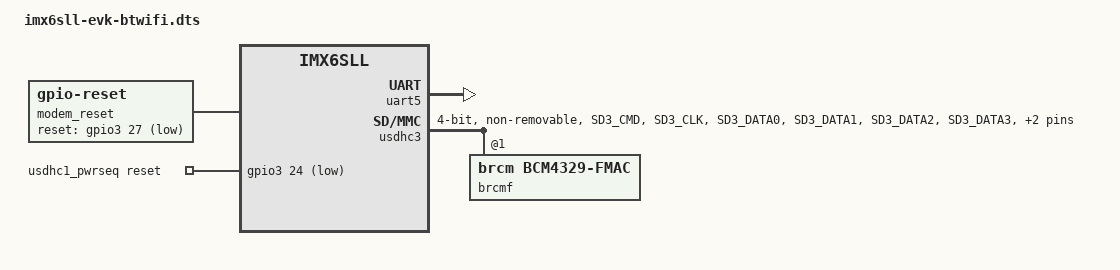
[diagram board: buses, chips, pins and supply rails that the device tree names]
/*
 * Copyright (C) 2016 Freescale Semiconductor, Inc.
 *
 * This program is free software; you can redistribute it and/or modify
 * it under the terms of the GNU General Public License version 2 as
 * published by the Free Software Foundation.
 */

/*
 * NOTE: This DTS file is written for plugging in Murata Wi-Fi/BT EVK into Slot
 * SD1 and using Murata i.MX InterConnect Ver 2.0 Adapter. Bluetooth UART &
 * control signals are connected via ribbon cable (J4 connector).
 */

#include "imx6sll-evk.dts"

/ {
	modem_reset: modem-reset {
		compatible = "gpio-reset";
		reset-gpios = <&gpio3 27 GPIO_ACTIVE_LOW>;
		reset-delay-us = <1000>;
		#reset-cells = <0>;
	};

	usdhc1_pwrseq: usdhc1_pwrseq {
		compatible = "mmc-pwrseq-simple";
		reset-gpios = <&gpio3 24 GPIO_ACTIVE_LOW>;
	};
};

&iomuxc {
	imx6sll-evk-murata-v2 {
		pinctrl_wifi: wifigrp {
			fsl,pins = <
				MX6SLL_PAD_SD3_CMD__SD3_CMD     0x170b9
				MX6SLL_PAD_SD3_CLK__SD3_CLK     0x130b9
				MX6SLL_PAD_SD3_DATA0__SD3_DATA0 0x170b9
				MX6SLL_PAD_SD3_DATA1__SD3_DATA1 0x170b9
				MX6SLL_PAD_SD3_DATA2__SD3_DATA2 0x170b9
				MX6SLL_PAD_SD3_DATA3__SD3_DATA3 0x170b9

				MX6SLL_PAD_KEY_COL0__GPIO3_IO24 0x17059 /* WL_REG_ON */
				MX6SLL_PAD_KEY_COL1__GPIO3_IO26 0x17059 /* WL_HOST_WAKE */
			>;
		};
	};
};

&lcdif {
	status = "disabled";
};

&reg_sd3_vmmc {
	regulator-always-on;
};

&uart5 {
	resets = <&modem_reset>;
	status = "okay";
};

&usdhc3 {
	#address-cells = <1>;
	#size-cells = <0>;
	pinctrl-names = "default";
	pinctrl-0 = <&pinctrl_wifi>;
	bus-width = <4>;
	no-1-8-v;
	non-removable;
	mmc-pwrseq = <&usdhc1_pwrseq>;
	pm-ignore-notify;
	cap-power-off-card;

	brcmf: bcrmf@1 {
		reg = <1>;
		compatible = "brcm,bcm4329-fmac";
	};
};
